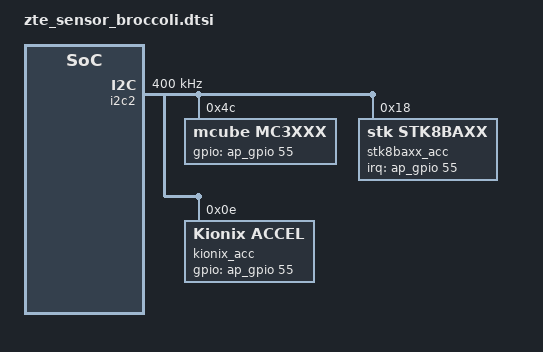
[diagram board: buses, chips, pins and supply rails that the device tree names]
&i2c2{
	clock-frequency = <400000>;
	status = "okay";

	mc3xxx@4c{
		compatible = "mcube,mc3xxx";
		reg = <0x4c>;
		gpios = <&ap_gpio 55 0>;
		poll_interval = <10>;
		min_interval = <1>;
		g_range = <0>;
		axis_maps_x = <0>;
		axis_maps_y = <1>;
		axis_maps_z = <2>;
		negate_x = <1>;
		negate_y = <1>;
		negate_z = <0>;
	};
	stk8baxx_acc@18{
		compatible = "stk,stk8baxx";
		reg = <0x18>;
		stk8baxx,irq-gpio = <&ap_gpio 55 0>;
		stk,direction = <1>;
	};

	kionix_acc@0E{
		compatible = "Kionix,accel";
		reg = <0x0E>;
		poll_interval = <10>;
		min_interval = <10>;
		g_range = <0>;
		accel_res = <0>;
		accel_irq_use_drdy = <1>;
		accel_direction = <3>;
		gpios = <&ap_gpio 55 0>;
	};

};
